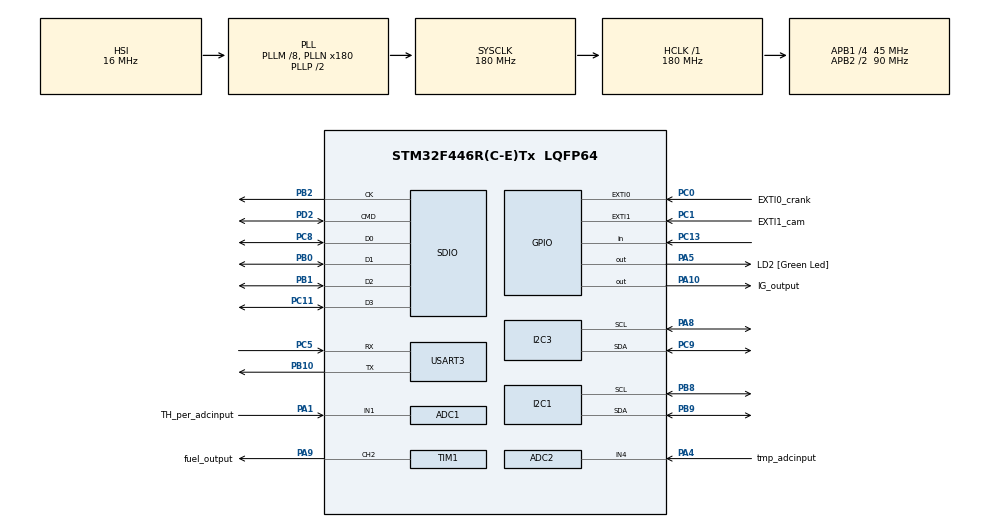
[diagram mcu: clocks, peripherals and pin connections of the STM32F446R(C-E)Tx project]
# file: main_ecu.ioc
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ADC1.Channel-0\#ChannelRegularConversion=ADC_CHANNEL_1
ADC1.ClockPrescaler=ADC_CLOCK_SYNC_PCLK_DIV4
ADC1.NbrOfConversionFlag=1
ADC1.Rank-0\#ChannelRegularConversion=1
ADC1.SamplingTime-0\#ChannelRegularConversion=ADC_SAMPLETIME_84CYCLES
ADC1.master=1
ADC2.Channel-0\#ChannelRegularConversion=ADC_CHANNEL_4
ADC2.ClockPrescaler=ADC_CLOCK_SYNC_PCLK_DIV4
ADC2.NbrOfConversionFlag=1
ADC2.Rank-0\#ChannelRegularConversion=1
ADC2.SamplingTime-0\#ChannelRegularConversion=ADC_SAMPLETIME_84CYCLES
Dma.Request0=SDIO_RX
Dma.Request1=SDIO_TX
Dma.SDIO_RX.0.Direction=DMA_PERIPH_TO_MEMORY
Dma.SDIO_RX.0.FIFOMode=DMA_FIFOMODE_ENABLE
Dma.SDIO_RX.0.FIFOThreshold=DMA_FIFO_THRESHOLD_FULL
Dma.SDIO_RX.0.Instance=DMA2_Stream3
Dma.SDIO_RX.0.MemBurst=DMA_MBURST_INC4
Dma.SDIO_RX.0.MemDataAlignment=DMA_MDATAALIGN_WORD
Dma.SDIO_RX.0.MemInc=DMA_MINC_ENABLE
Dma.SDIO_RX.0.Mode=DMA_PFCTRL
Dma.SDIO_RX.0.PeriphBurst=DMA_PBURST_INC4
Dma.SDIO_RX.0.PeriphDataAlignment=DMA_PDATAALIGN_WORD
Dma.SDIO_RX.0.PeriphInc=DMA_PINC_DISABLE
Dma.SDIO_RX.0.Priority=DMA_PRIORITY_LOW
Dma.SDIO_TX.1.Direction=DMA_MEMORY_TO_PERIPH
Dma.SDIO_TX.1.FIFOMode=DMA_FIFOMODE_ENABLE
Dma.SDIO_TX.1.FIFOThreshold=DMA_FIFO_THRESHOLD_FULL
Dma.SDIO_TX.1.Instance=DMA2_Stream6
Dma.SDIO_TX.1.MemBurst=DMA_MBURST_INC4
Dma.SDIO_TX.1.MemDataAlignment=DMA_MDATAALIGN_WORD
Dma.SDIO_TX.1.MemInc=DMA_MINC_ENABLE
Dma.SDIO_TX.1.Mode=DMA_PFCTRL
Dma.SDIO_TX.1.PeriphBurst=DMA_PBURST_INC4
Dma.SDIO_TX.1.PeriphDataAlignment=DMA_PDATAALIGN_WORD
Dma.SDIO_TX.1.PeriphInc=DMA_PINC_DISABLE
Dma.SDIO_TX.1.Priority=DMA_PRIORITY_LOW
FATFS._MAX_SS=4096
FREERTOS.BinarySemaphores01=Crank_Sem,Dynamic,NULL,Available
FREERTOS.Mutexes01=Uart_mutex,Dynamic,NULL,Depleted;I2C_mutex,Dynamic,NULL,Available
FREERTOS.Queues01=sensor_Queue,16,uint16_t,0,Dynamic,NULL,NULL;command_Queue,16,uint16_t,0,Dynamic,NULL,NULL;configQueue,16,uint16_t,0,Dynamic,NULL,NULL
FREERTOS.Tasks01=IG_Task,3,128,ig_Task,Default,NULL,Dynamic,NULL,NULL;fuel_Task,3,128,fuel_task,Default,NULL,Dynamic,NULL,NULL;Throttle_Task,2,128,Throttle_task,Default,NULL,Dynamic,NULL,NULL;TMP_Task,1,128,TMP_task,Default,NULL,Dynamic,NULL,NULL;UI_Task,-2,256,UI_task,Default,NULL,Dynamic,NULL,NULL;Xbeetask,1,128,xbeetask,Default,NULL,Dynamic,NULL,NULL
Mcu.Family=STM32F4
Mcu.Name=STM32F446R(C-E)Tx
Mcu.Package=LQFP64
NVIC.DMA2_Stream3_IRQn=true\:5\:0\:false\:false\:true\:true\:false\:true\:true
NVIC.DMA2_Stream6_IRQn=true\:5\:0\:false\:false\:true\:true\:false\:true\:true
NVIC.EXTI0_IRQn=true\:5\:0\:false\:false\:true\:true\:true\:true\:true
NVIC.EXTI1_IRQn=true\:5\:0\:false\:false\:true\:true\:true\:true\:true
NVIC.I2C3_ER_IRQn=true\:5\:0\:false\:false\:true\:true\:true\:true\:true
NVIC.I2C3_EV_IRQn=true\:5\:0\:false\:false\:true\:true\:true\:true\:true
NVIC.PriorityGroup=NVIC_PRIORITYGROUP_4
NVIC.SDIO_IRQn=true\:5\:0\:false\:false\:true\:true\:true\:true\:true
NVIC.TIM2_IRQn=true\:5\:0\:false\:false\:true\:true\:true\:true\:true
NVIC.TIM3_IRQn=true\:5\:0\:false\:false\:true\:true\:true\:true\:true
NVIC.TIM4_IRQn=true\:5\:0\:false\:false\:true\:true\:true\:true\:true
NVIC.TIM5_IRQn=true\:5\:0\:false\:false\:true\:true\:true\:true\:true
NVIC.TIM6_DAC_IRQn=true\:15\:0\:false\:false\:true\:false\:false\:true\:true
NVIC.TimeBase=TIM6_DAC_IRQn
NVIC.TimeBaseIP=TIM6
NVIC.USART3_IRQn=true\:5\:0\:false\:false\:true\:true\:true\:true\:true
PA1.GPIO_Label=TH_per_adcinput
PA1.Signal=ADCx_IN1
PA10.GPIO_Label=IG_output
PA10.Signal=GPIO_Output
PA13.GPIO_Label=TMS
PA13.Mode=Serial_Wire
PA13.Signal=SYS_JTMS-SWDIO
PA14.GPIO_Label=TCK
PA14.Mode=Serial_Wire
PA14.Signal=SYS_JTCK-SWCLK
PA4.GPIO_Label=tmp_adcinput
PA4.Signal=ADCx_IN4
PA5.GPIO_Label=LD2 [Green Led]
PA5.Signal=GPIO_Output
PA8.Mode=I2C
PA8.Signal=I2C3_SCL
PA9.GPIO_Label=fuel_output
PA9.Signal=S_TIM1_CH2
PB0.Mode=SD_4_bits_Wide_bus
PB0.Signal=SDIO_D1
PB1.Mode=SD_4_bits_Wide_bus
PB1.Signal=SDIO_D2
PB10.Mode=Asynchronous
PB10.Signal=USART3_TX
PB2.Mode=SD_4_bits_Wide_bus
PB2.Signal=SDIO_CK
PB3.GPIO_Label=SWO
PB3.Signal=SYS_JTDO-SWO
PB8.GPIO_Pu=GPIO_PULLUP
PB8.Mode=I2C
PB8.Signal=I2C1_SCL
PB9.GPIO_Pu=GPIO_PULLUP
PB9.Mode=I2C
PB9.Signal=I2C1_SDA
PC0.GPIO_Label=EXTI0_crank
PC0.GPIO_PuPd=GPIO_PULLDOWN
PC0.Signal=GPXTI0
PC1.GPIO_Label=EXTI1_cam
PC1.Signal=GPXTI1
PC11.Mode=SD_4_bits_Wide_bus
PC11.Signal=SDIO_D3
PC13.GPIO_PuPd=GPIO_PULLUP
PC13.Signal=GPIO_Input
PC14-OSC32_IN.Mode=LSE-External-Oscillator
PC14-OSC32_IN.Signal=RCC_OSC32_IN
PC15-OSC32_OUT.Mode=LSE-External-Oscillator
PC15-OSC32_OUT.Signal=RCC_OSC32_OUT
PC5.Mode=Asynchronous
PC5.Signal=USART3_RX
PC8.Mode=SD_4_bits_Wide_bus
PC8.Signal=SDIO_D0
PC9.Mode=I2C
PC9.Signal=I2C3_SDA
PD2.Mode=SD_4_bits_Wide_bus
PD2.Signal=SDIO_CMD
PH0-OSC_IN.Mode=HSE-External-Oscillator
PH0-OSC_IN.Signal=RCC_OSC_IN
PH1-OSC_OUT.Mode=HSE-External-Oscillator
PH1-OSC_OUT.Signal=RCC_OSC_OUT
ProjectManager.HeapSize=0x200
ProjectManager.StackSize=0x400
ProjectManager.TargetToolchain=STM32CubeIDE
RCC.48MHZClocksFreq_Value=84000000
RCC.AHBFreq_Value=180000000
RCC.APB1CLKDivider=RCC_HCLK_DIV4
RCC.APB1Freq_Value=45000000
RCC.APB1TimFreq_Value=90000000
RCC.APB2CLKDivider=RCC_HCLK_DIV2
RCC.APB2Freq_Value=90000000
RCC.APB2TimFreq_Value=180000000
RCC.CortexFreq_Value=180000000
RCC.FLatency-AdvancedSettings=FLASH_LATENCY_5
RCC.HCLKFreq_Value=180000000
RCC.HSE_VALUE=8000000
RCC.HSI_VALUE=16000000
RCC.PLLM=8
RCC.PLLN=180
RCC.PLLQ=8
RCC.SYSCLKFreq_VALUE=180000000
RCC.SYSCLKSource=RCC_SYSCLKSOURCE_PLLCLK
RCC.USBFreq_Value=45000000
RCC.VCOOutputFreq_Value=360000000
SH.ADCx_IN1.0=ADC1_IN1,IN1
SH.ADCx_IN4.0=ADC2_IN4,IN4
SH.S_TIM1_CH2.0=TIM1_CH2,PWM Generation2 CH2
TIM1.Channel-PWM\ Generation2\ CH2=TIM_CHANNEL_2
TIM1.Prescaler=89
TIM2.Channel-Output\ Compare1\ No\ Output=TIM_CHANNEL_1
TIM2.Period=4294967295
TIM2.Prescaler=89
TIM3.Channel-Output\ Compare1\ No\ Output=TIM_CHANNEL_1
TIM3.Period=14999
TIM3.Prescaler=89
TIM4.Channel-Output\ Compare1\ No\ Output=TIM_CHANNEL_1
TIM4.Period=14999
TIM4.Prescaler=89
TIM5.Period=4294967295
TIM5.Prescaler=89
USART3.VirtualMode=VM_ASYNC
VP_CRC_VS_CRC.Mode=CRC_Activate
VP_FATFS_VS_SDIO.Mode=SDIO
VP_FREERTOS_VS_CMSIS_V1.Mode=CMSIS_V1
VP_SYS_VS_tim6.Mode=TIM6
VP_TIM2_VS_ClockSourceINT.Mode=Internal
VP_TIM2_VS_no_output1.Mode=Output Compare1 No Output
VP_TIM3_VS_ClockSourceINT.Mode=Internal
VP_TIM3_VS_no_output1.Mode=Output Compare1 No Output
VP_TIM4_VS_ClockSourceINT.Mode=Internal
VP_TIM4_VS_no_output1.Mode=Output Compare1 No Output
VP_TIM5_VS_ClockSourceINT.Mode=Internal
board=NUCLEO-F446RE

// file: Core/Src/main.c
/* USER CODE BEGIN Header */
/**
  ******************************************************************************
  * @file           : main.c
  * @brief          : Main program body
  ******************************************************************************
  * @attention
  *
  * Copyright (c) 2025 STMicroelectronics.
  * All rights reserved.
  *
  * This software is licensed under terms that can be found in the LICENSE file
  * in the root directory of this software component.
  * If no LICENSE file comes with this software, it is provided AS-IS.
  * この順で保存
  * git status
    git add .
    git commit -m "tune injection map"
    git push
  *
  ******************************************************************************
  */
/* USER CODE END Header */
#include "main.h"
#include "cmsis_os.h"
#include "adc.h"
#include "crc.h"
#include "dma.h"
#include "fatfs.h"
#include "i2c.h"
#include "sdio.h"
#include "tim.h"
#include "usart.h"
#include "gpio.h"

/* USER CODE BEGIN Includes */
#include <stdio.h>
#include <math.h>
#include <string.h>
#include "liquidcrystal_i2c.h"
#include "ecu_math.h"
#include "ee24.h"
#include "ecu_data.h"
#include "ecu_config.h"
#include "FreeRTOS.h"
#include "task.h"
#include "xbee_ecu.h"
/* USER CODE END Includes */

/* USER CODE BEGIN PTD */
EE24_HandleTypeDef hee24;
extern XBee_ECU_Handle_t xbee_ecu;
/* USER CODE END PTD */

/* USER CODE BEGIN PD */

//↑バージョン情報も保存させているときはその分のサイズも足す
/* USER CODE END PD */

/* USER CODE BEGIN PM */
static uint16_t map_crc16(const uint8_t *data, uint32_t length);
static uint8_t load_map_from_payload(const uint8_t *data, uint32_t length);
extern osMutexId I2C_mutexHandle;

int XBee_GetEngineRPM(void)
{
    /* A previous RPM value is not evidence that the engine is still rotating. */
    if (!crank_is_synchronised ||
        (HAL_GetTick() - crank_last_edge_ms) > CRANK_TIMEOUT_MS ||
        rpm_A <= 0)
        return 0;

    if (rpm_A > 65535)
        return 65535;

    return (uint16_t)rpm_A;
}

HAL_StatusTypeDef XBee_WriteBin(
    const uint8_t *data,
    uint16_t length
)
{
    if (data == NULL || length != MAP_SIZE)
        return HAL_ERROR;

    if (osMutexWait(I2C_mutexHandle, osWaitForever) != osOK)
        return HAL_ERROR;
    uint8_t write_ok = EE24_Write(&hee24, 0x0000U, (uint8_t *)data, length, 1000U);
    (void)osMutexRelease(I2C_mutexHandle);
    return write_ok ? HAL_OK : HAL_ERROR;
}

HAL_StatusTypeDef XBee_VerifyBin(
    const uint8_t *data,
    uint16_t length
)
{
    uint8_t verify[MAP_SIZE];

    if (data == NULL || length != MAP_SIZE ||
        osMutexWait(I2C_mutexHandle, osWaitForever) != osOK)
    {
        return HAL_ERROR;
    }
    uint8_t read_ok = EE24_Read(&hee24, 0x0000U, verify, MAP_SIZE, 1000U);
    (void)osMutexRelease(I2C_mutexHandle);
    if (!read_ok ||
        memcmp(data, verify, MAP_SIZE) != 0 ||
        !load_map_from_payload(verify, MAP_SIZE))
    {
        return HAL_ERROR;
    }

    return HAL_OK;
}
/* USER CODE END PM */

void SystemClock_Config(void);
void MX_FREERTOS_Init(void);

/* USER CODE BEGIN 0 */

static uint16_t map_crc16(const uint8_t *data, uint32_t length)
{
    uint32_t crc = 0xFFFFFFFFU;

    for (uint32_t i = 0; i < length; i++)
    {
        crc ^= data[i];
        for (uint32_t bit = 0; bit < 8U; bit++)
        {
            crc = (crc & 1U) ? ((crc >> 1U) ^ 0xEDB88320U) : (crc >> 1U);
        }
    }

    return (uint16_t)((crc ^ 0xFFFFFFFFU) & 0xFFFFU);
}

static uint8_t load_map_from_payload(const uint8_t *data, uint32_t length)
{
    mapdata candidate = default_map;
    uint32_t index = 0U;
    uint16_t stored_crc;

    if (data == NULL || length != MAP_SIZE)
        return 0U;

    stored_crc = (uint16_t)data[MAP_DATA_SIZE] |
                 ((uint16_t)data[MAP_DATA_SIZE + 1U] << 8U);
    if (map_crc16(data, MAP_DATA_SIZE) != stored_crc)
        return 0U;

    for (int i = 0; i < RPM_SIZE; i++)
    {
        candidate.rpm_axis[i] = (int)((uint16_t)data[index] |
                                      ((uint16_t)data[index + 1U] << 8U));
        index += 2U;
        if (candidate.rpm_axis[i] > 12000 ||
            (i > 0 && candidate.rpm_axis[i] <= candidate.rpm_axis[i - 1]))
            return 0U;
    }

    for (int i = 0; i < TPS_SIZE; i++)
    {
        candidate.tps_axis[i] = (int)((uint16_t)data[index] |
                                      ((uint16_t)data[index + 1U] << 8U));
        index += 2U;
        if (candidate.tps_axis[i] > 100 ||
            (i > 0 && candidate.tps_axis[i] <= candidate.tps_axis[i - 1]))
            return 0U;
    }

    for (int r = 0; r < RPM_SIZE; r++)
    {
        for (int t = 0; t < TPS_SIZE; t++)
        {
            uint16_t value = (uint16_t)data[index] |
                             ((uint16_t)data[index + 1U] << 8U);
            index += 2U;
            candidate.map_fuel_raw_ee[r][t] = value;
            candidate.map_fuel[r][t] = (float)value / 1000.0f;
            if (candidate.map_fuel[r][t] < 10.0f || candidate.map_fuel[r][t] > 18.0f)
                return 0U;
        }
    }

    for (int r = 0; r < RPM_SIZE; r++)
    {
        for (int t = 0; t < TPS_SIZE; t++)
        {
            int16_t value = (int16_t)((uint16_t)data[index] |
                                      ((uint16_t)data[index + 1U] << 8U));
            index += 2U;
            candidate.map_ign_ee[r][t] = value;
            candidate.map_ign[r][t] = (int)value;
            if (value < -20 || value > 40)
                return 0U;
        }
    }

    if (index != MAP_DATA_SIZE)
        return 0U;

    current_map = candidate;
    return 1U;
}
/* USER CODE END 0 */

int main(void)
{

  /* MCU Configuration--------------------------------------------------------*/

  /* Reset of all peripherals, Initializes the Flash interface and the Systick. */
  HAL_Init();

  /* Configure the system clock */
  SystemClock_Config();

  /* Initialize all configured peripherals */
  MX_GPIO_Init();
  MX_DMA_Init();
  MX_I2C1_Init();
  MX_TIM2_Init();
  MX_ADC1_Init();
  MX_TIM3_Init();
  MX_ADC2_Init();
  MX_TIM4_Init();
  MX_TIM5_Init();
  MX_I2C3_Init();
  MX_CRC_Init();
  MX_SDIO_SD_Init();
  MX_FATFS_Init();
  MX_USART3_UART_Init();
  MX_TIM1_Init();
  /* USER CODE BEGIN 2 */
  XBee_ECU_Init(
  	        &xbee_ecu,
  	        &huart3,
  			XBee_GetEngineRPM,
  	        XBee_WriteBin,
  	        XBee_VerifyBin
  	    );
  HAL_TIM_PWM_Start(&htim1,TIM_CHANNEL_2); //NEW燃料時間制御
  HAL_TIM_Base_Start(&htim2);   // 周期計測用
  HAL_TIM_Base_Start(&htim3);   // 点火遅延用
  HAL_TIM_Base_Start(&htim4);
  HD44780_Init(2);
  HD44780_Clear();
  HD44780_PrintStr("1");
  HAL_Delay(500);
  for(int addr=0; addr<128; addr++)
  {
      if(HAL_I2C_IsDeviceReady(&hi2c3, addr<<1, 1, 10) == HAL_OK)
      {
          printf("I2C device: 0x%02X\n",addr);
      }
  }
  //HAL_Delay(10000);
  /* Invalid, erased, or partially written EEPROM must never become a map. */
  if (!EE24_Init(&hee24, &hi2c3, EE24_ADDRESS_DEFAULT) ||
      !EE24_Read(&hee24, 0x0000U, raw_map, MAP_SIZE, 1000U) ||
      !load_map_from_payload(raw_map, MAP_SIZE))
  {
      current_map = default_map;
      HD44780_Clear();
      HD44780_PrintStr("default map");
  }
  else
  {
      HD44780_Clear();
      HD44780_PrintStr("map loaded");
  }

  /* USER CODE END 2 */

  /* Call init function for freertos objects (in cmsis_os2.c) */
  MX_FREERTOS_Init();

  /* Start scheduler */
  osKernelStart();

  /* We should never get here as control is now taken by the scheduler */

  /* Infinite loop */
  while (1)
  {

  }
}

void SystemClock_Config(void)
{
  RCC_OscInitTypeDef RCC_OscInitStruct = {0};
  RCC_ClkInitTypeDef RCC_ClkInitStruct = {0};

  /** Configure the main internal regulator output voltage
  */
  __HAL_RCC_PWR_CLK_ENABLE();
  __HAL_PWR_VOLTAGESCALING_CONFIG(PWR_REGULATOR_VOLTAGE_SCALE1);

  /** Initializes the RCC Oscillators according to the specified parameters
  * in the RCC_OscInitTypeDef structure.
  */
  RCC_OscInitStruct.OscillatorType = RCC_OSCILLATORTYPE_HSI;
  RCC_OscInitStruct.HSIState = RCC_HSI_ON;
  RCC_OscInitStruct.HSICalibrationValue = RCC_HSICALIBRATION_DEFAULT;
  RCC_OscInitStruct.PLL.PLLState = RCC_PLL_ON;
  RCC_OscInitStruct.PLL.PLLSource = RCC_PLLSOURCE_HSI;
  RCC_OscInitStruct.PLL.PLLM = 8;
  RCC_OscInitStruct.PLL.PLLN = 180;
  RCC_OscInitStruct.PLL.PLLP = RCC_PLLP_DIV2;
  RCC_OscInitStruct.PLL.PLLQ = 8;
  RCC_OscInitStruct.PLL.PLLR = 2;
  if (HAL_RCC_OscConfig(&RCC_OscInitStruct) != HAL_OK)
  {
    Error_Handler();
  }

  /** Activate the Over-Drive mode
  */
  if (HAL_PWREx_EnableOverDrive() != HAL_OK)
  {
    Error_Handler();
  }

  /** Initializes the CPU, AHB and APB buses clocks
  */
  RCC_ClkInitStruct.ClockType = RCC_CLOCKTYPE_HCLK|RCC_CLOCKTYPE_SYSCLK
                              |RCC_CLOCKTYPE_PCLK1|RCC_CLOCKTYPE_PCLK2;
  RCC_ClkInitStruct.SYSCLKSource = RCC_SYSCLKSOURCE_PLLCLK;
  RCC_ClkInitStruct.AHBCLKDivider = RCC_SYSCLK_DIV1;
  RCC_ClkInitStruct.APB1CLKDivider = RCC_HCLK_DIV4;
  RCC_ClkInitStruct.APB2CLKDivider = RCC_HCLK_DIV2;

  if (HAL_RCC_ClockConfig(&RCC_ClkInitStruct, FLASH_LATENCY_5) != HAL_OK)
  {
    Error_Handler();
  }
}

/* USER CODE BEGIN 4 */
/*
void HAL_GPIO_EXTI_Callback(uint16_t GPIO_Pin)
{
  if (GPIO_Pin == EXTI0_crank_Pin)   // ← クランク入力ピンに合わせる
  {
	uint32_t now = __HAL_TIM_GET_COUNTER(&htim2);

	HAL_GPIO_TogglePin(LD2_GPIO_Port, LD2_Pin); // デバッグ用

	crank_period_us = now - crank_last_us;
	crank_last_us = now;
	//if (crank_period_us < 3000) return;   // ≒ 10000rpm以上
	//if (crank_period_us > 100000) return; // クランキング異常

	rpm_A = 60000000UL / crank_period_us;

	// RTOSタスクに渡すだけ
	 //osSemaphoreRelease(Crank_SemHandle);
	BaseType_t xHigherPriorityTaskWoken = pdFALSE;
	xSemaphoreGiveFromISR(Crank_SemHandle, &xHigherPriorityTaskWoken);
	portYIELD_FROM_ISR(xHigherPriorityTaskWoken);

  }
}
*/
//クランク信号割り込み
void HAL_GPIO_EXTI_Callback(uint16_t GPIO_Pin)
{
  if (GPIO_Pin == EXTI0_crank_Pin)   // ← クランク入力ピンに合わせる
  {
  	  uint32_t now = __HAL_TIM_GET_COUNTER(&htim2);
      uint32_t period;

      if (!crank_is_synchronised)
      {
          crank_last_us = now;
          crank_last_edge_ms = HAL_GetTick();
          crank_is_synchronised = 1U;
          return;
      }

      /* Unsigned subtraction is correct across a 32-bit timer wrap. */
      period = now - crank_last_us;
      if (period < CRANK_PERIOD_MIN_US || period > CRANK_PERIOD_MAX_US)
      {
          return;
      }

      crank_period_us = period;
      crank_last_us = now;
      crank_last_edge_ms = HAL_GetTick();
      rpm_A = (int)(60000000UL / crank_period_us);

	  	    if (rpm_A < 3000)      dwell_us = 3000;
	  	    else if (rpm_A < 6000) dwell_us = 2000;
	  	    else                   dwell_us = 1500;

	  uint32_t target1 = now + next_delay_us;

	 // __HAL_TIM_SET_COUNTER(&htim3, 0);
	  //__HAL_TIM_SET_COMPARE(&htim3, TIM_CHANNEL_1, target);
	  //HAL_TIM_OC_Start_IT(&htim3, TIM_CHANNEL_1);
	  __HAL_TIM_SET_COMPARE(&htim2, TIM_CHANNEL_1, target1);
	  HAL_TIM_OC_Start_IT(&htim2, TIM_CHANNEL_1);
  }else if(GPIO_Pin == EXTI1_cam_Pin){
	  //カム信号割り込み
	  //インジェクターテストモードでは割り込み無効化
	  if(injector_test_mode)
	      {
	          return;
	      }

	  //HAL_GPIO_WritePin(fuel_output_GPIO_Port,fuel_output_Pin,GPIO_PIN_SET);
	  //uint32_t now1 = __HAL_TIM_GET_COUNTER(&htim5);
	  //uint32_t target2 = now1 + (uint32_t)T_inj_us;

	  //噴射時間セット
	 //噴射から噴射終了までやる
	  uint32_t pulse = (uint32_t)T_inj_us;
	  if (pulse > 65000U) pulse = 65000U;  //16ビットカウンタ安全マージン
	  __HAL_TIM_DISABLE(&htim1);
	  __HAL_TIM_SET_COUNTER(&htim1, 0);
	  __HAL_TIM_SET_COMPARE(&htim1, TIM_CHANNEL_2, pulse);
	  __HAL_TIM_ENABLE(&htim1);

		  //__HAL_TIM_SET_COMPARE(&htim5, TIM_CHANNEL_1, target2);

		 //HAL_TIM_OC_Start_IT(&htim5, TIM_CHANNEL_1);

  }
}

void HAL_TIM_OC_DelayElapsedCallback(TIM_HandleTypeDef *htim)
{//点火開始
  if (htim->Instance == TIM2)
  {
    HAL_GPIO_WritePin(IG_output_GPIO_Port, IG_output_Pin, GPIO_PIN_SET); // IGN ON
    HAL_GPIO_WritePin(LD2_GPIO_Port, LD2_Pin,GPIO_PIN_SET); // デバッグ用

    // TIM4カウンタリセット
        __HAL_TIM_SET_COUNTER(&htim4, 0);

        // dwell時間セット
        __HAL_TIM_SET_COMPARE(&htim4, TIM_CHANNEL_1, dwell_us);

        HAL_TIM_OC_Start_IT(&htim4, TIM_CHANNEL_1);

   // HAL_TIM_OC_Stop_IT(&htim3, TIM_CHANNEL_1);
  }//点火終わり
  else if (htim->Instance == TIM4)
    {
      HAL_GPIO_WritePin(IG_output_GPIO_Port, IG_output_Pin, GPIO_PIN_RESET);
      HAL_TIM_OC_Stop_IT(&htim4, TIM_CHANNEL_1);
    }
}

void HAL_UART_RxCpltCallback(UART_HandleTypeDef *huart)
{
    if (huart->Instance == USART3)
    {
        XBee_ECU_RxCpltCallback(&xbee_ecu, huart);
    }
}

void HAL_UART_ErrorCallback(UART_HandleTypeDef *huart)
{
    if (huart->Instance == USART3)
    {
        XBee_ECU_ErrorCallback(&xbee_ecu, huart);
    }
}

/* USER CODE END 4 */

void HAL_TIM_PeriodElapsedCallback(TIM_HandleTypeDef *htim)
{
  if (htim->Instance == TIM6)
  {
    HAL_IncTick();
  }
}

void Error_Handler(void)
{
  /* USER CODE BEGIN Error_Handler_Debug */

  /* User can add his own implementation to report the HAL error return state */
  __disable_irq();
  while (1)
  {
	  HAL_GPIO_TogglePin(LD2_GPIO_Port, LD2_Pin);
	  HAL_Delay(200);
  }
  /* USER CODE END Error_Handler_Debug */
}

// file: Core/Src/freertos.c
/* USER CODE BEGIN Header */
/**
  ******************************************************************************
  * File Name          : freertos.c
  * Description        : Code for freertos applications
  ******************************************************************************
  * @attention
  *
  * Copyright (c) 2025 STMicroelectronics.
  * All rights reserved.
  *
  * This software is licensed under terms that can be found in the LICENSE file
  * in the root directory of this software component.
  * If no LICENSE file comes with this software, it is provided AS-IS.
  *
  ******************************************************************************
  */
/* USER CODE END Header */

#include "FreeRTOS.h"
#include "task.h"
#include "main.h"
#include "cmsis_os.h"

/* USER CODE BEGIN Includes */
#include "ecu_math.h"
#include "ecu_data.h"
#include "ecu_config.h"
#include "adc.h"
#include "ecu_UI.h"
#include "xbee_ecu.h"
#include "usart.h"
#include "crc.h"
#include "tim.h"

/* USER CODE END Includes */

/* USER CODE BEGIN Variables */
XBee_ECU_Handle_t xbee_ecu;

/* USER CODE END Variables */
osThreadId IG_TaskHandle;
osThreadId fuel_TaskHandle;
osThreadId Throttle_TaskHandle;
osThreadId TMP_TaskHandle;
osThreadId UI_TaskHandle;
osThreadId XbeetaskHandle;
osMessageQId sensor_QueueHandle;
osMessageQId command_QueueHandle;
osMessageQId configQueueHandle;
osMutexId Uart_mutexHandle;
osMutexId I2C_mutexHandle;
osSemaphoreId Crank_SemHandle;

void ig_Task(void const * argument);
void fuel_task(void const * argument);
void Throttle_task(void const * argument);
void TMP_task(void const * argument);
void UI_task(void const * argument);
void xbeetask(void const * argument);

void MX_FREERTOS_Init(void); /* (MISRA C 2004 rule 8.1) */

/* GetIdleTaskMemory prototype (linked to static allocation support) */
void vApplicationGetIdleTaskMemory( StaticTask_t **ppxIdleTaskTCBBuffer, StackType_t **ppxIdleTaskStackBuffer, uint32_t *pulIdleTaskStackSize );

/* USER CODE BEGIN GET_IDLE_TASK_MEMORY */
static StaticTask_t xIdleTaskTCBBuffer;
static StackType_t xIdleStack[configMINIMAL_STACK_SIZE];

void vApplicationGetIdleTaskMemory( StaticTask_t **ppxIdleTaskTCBBuffer, StackType_t **ppxIdleTaskStackBuffer, uint32_t *pulIdleTaskStackSize )
{
  *ppxIdleTaskTCBBuffer = &xIdleTaskTCBBuffer;
  *ppxIdleTaskStackBuffer = &xIdleStack[0];
  *pulIdleTaskStackSize = configMINIMAL_STACK_SIZE;
  /* place for user code */
}
/* USER CODE END GET_IDLE_TASK_MEMORY */

void MX_FREERTOS_Init(void) {
  /* Create the mutex(es) */
  /* definition and creation of Uart_mutex */
  osMutexDef(Uart_mutex);
  Uart_mutexHandle = osMutexCreate(osMutex(Uart_mutex));

  /* definition and creation of I2C_mutex */
  osMutexDef(I2C_mutex);
  I2C_mutexHandle = osMutexCreate(osMutex(I2C_mutex));

  /* Create the semaphores(s) */
  /* definition and creation of Crank_Sem */
  osSemaphoreDef(Crank_Sem);
  Crank_SemHandle = osSemaphoreCreate(osSemaphore(Crank_Sem), 1);

  /* Create the queue(s) */
  /* definition and creation of sensor_Queue */
  osMessageQDef(sensor_Queue, 16, uint16_t);
  sensor_QueueHandle = osMessageCreate(osMessageQ(sensor_Queue), NULL);

  /* definition and creation of command_Queue */
  osMessageQDef(command_Queue, 16, uint16_t);
  command_QueueHandle = osMessageCreate(osMessageQ(command_Queue), NULL);

  /* definition and creation of configQueue */
  osMessageQDef(configQueue, 16, uint16_t);
  configQueueHandle = osMessageCreate(osMessageQ(configQueue), NULL);

  /* Create the thread(s) */
  /* definition and creation of IG_Task */
  osThreadDef(IG_Task, ig_Task, osPriorityRealtime, 0, 128);
  IG_TaskHandle = osThreadCreate(osThread(IG_Task), NULL);

  /* definition and creation of fuel_Task */
  osThreadDef(fuel_Task, fuel_task, osPriorityRealtime, 0, 128);
  fuel_TaskHandle = osThreadCreate(osThread(fuel_Task), NULL);

  /* definition and creation of Throttle_Task */
  osThreadDef(Throttle_Task, Throttle_task, osPriorityHigh, 0, 128);
  Throttle_TaskHandle = osThreadCreate(osThread(Throttle_Task), NULL);

  /* definition and creation of TMP_Task */
  osThreadDef(TMP_Task, TMP_task, osPriorityAboveNormal, 0, 128);
  TMP_TaskHandle = osThreadCreate(osThread(TMP_Task), NULL);

  /* definition and creation of UI_Task */
  osThreadDef(UI_Task, UI_task, osPriorityLow, 0, 256);
  UI_TaskHandle = osThreadCreate(osThread(UI_Task), NULL);

  /* definition and creation of Xbeetask */
  osThreadDef(Xbeetask, xbeetask, osPriorityAboveNormal, 0, 128);
  XbeetaskHandle = osThreadCreate(osThread(Xbeetask), NULL);

}

void ig_Task(void const * argument)
{
  /* USER CODE BEGIN ig_Task */
  /* Infinite loop */
  for(;;)
  {

	  	        fdeg = getValue_i(rpm_A, THper, current_map.map_ign);
	  	        if (fdeg < 0)  fdeg = 0;
	  	        if (fdeg > 35) fdeg = 35;
	  	        //アイドリング点火時期ずらし
	  	        if(THper < 5 && rpm_A < 2000){
	  	          if(rpm_A < 1400) fdeg += 3;
	  	          if(rpm_A > 1600) fdeg -= 3;
	  	         }
	  	        if (fdeg < 0)  fdeg = 0;
	  	        if (fdeg > 35) fdeg = 35;
	  	        fdeg_ui = fdeg;

	  	        int32_t sdeg = BASE_ANGLE - fdeg;
	  	        delay_us = (sdeg * crank_period_us) / 360;
	  	        if (delay_us < 50) delay_us = 50;
	  	        if (delay_us > 60000) delay_us = 60000;
	  	        next_delay_us = delay_us;

	  	        //__HAL_TIM_SET_COUNTER(&htim3, 0);
	  	        //__HAL_TIM_SET_COMPARE(&htim3, TIM_CHANNEL_1, delay_us);
	  	        //HAL_TIM_OC_Start_IT(&htim3, TIM_CHANNEL_1);

    osDelay(1);
  }
  /* USER CODE END ig_Task */
}

void fuel_task(void const * argument)
{
  /* USER CODE BEGIN fuel_task */
	static TickType_t start_time = 0;
	static uint8_t started = 0;
	static uint8_t was_running = 0;
  /* Infinite loop */
  for(;;)
  {

	  //インジェクター流量測定モード
	  if(HAL_GPIO_ReadPin(GPIOC, GPIO_PIN_13) == GPIO_PIN_RESET)
	  {
	      injector_test_mode = 1;
	  }
	  else
	  {
	      injector_test_mode = 0;
	  }

	  if(injector_test_mode)
	      {
		      __HAL_TIM_SET_COUNTER(&htim1,5000);
	          continue;
	      }

	  // --- クランキング ---
	  if(rpm_A < 500)
	  {
		  started = 0;
		  was_running = 0;
	      if(tmp < 10)      T_inj_us = 9000;
	      else if(tmp <30)  T_inj_us = 7000;
	      else              T_inj_us = 5000;
	  }
	  else
	  {
		  started = 1;
		  if (!was_running)
		  {
		      start_time = xTaskGetTickCount();
		      was_running = 1;
		  }
	      // --- 通常燃料 ---
	      AFR_target = getValue_f(rpm_A,THper,current_map.map_fuel);

	      if(AFR_target < 10.0f) AFR_target = 10.0f;
	      if(AFR_target > 18.0f) AFR_target = 18.0f;

	      //簡易的に噴射時間を設定
	      T_inj_ms = T_base * (AFR_base / AFR_target);

	      //温度補正（簡易）
	      if(tmp < 60.0f)
	      {
	          T_inj_ms *= 1.10f;
	      }

	      //インジェクター無効噴射時間加算
	      T_inj_ms += inj_inv_ms;
	      //msからμsに変換
	      T_inj_us = T_inj_ms * 1000.0f + 0.5f;
	  }

	  // --- After Start ---
	  if(started && rpm_A > 500)
	  {
	      if(xTaskGetTickCount() - start_time < pdMS_TO_TICKS(5000))
	      {
	          T_inj_us *= 1.2f;
	      }
	  }

	  // --- TPS加速補正 ---
	  static int last_TPS = 0;
	  int dTPS = THper - last_TPS;

	  if(dTPS > 5)
	  {
	      T_inj_us += 800;
	  }
	  last_TPS = THper;

	  // --- LPF ---
	  static float inj_filtered = 0;
	  inj_filtered = inj_filtered * 0.7f + T_inj_us * 0.3f;
	  T_inj_us = inj_filtered;

	  //レブリミッター
	  if(rpm_A > 6000){
		  T_inj_us = 0;
	  }

	  osDelay(1);
	}

  /* USER CODE END fuel_task */
}

void Throttle_task(void const * argument)
{
  /* USER CODE BEGIN Throttle_task */
  /* Infinite loop */
  for(;;)
  {
	  // ADCの開始
	 	  	          HAL_ADC_Start(&hadc1);

	 	  	          // ADC変換が完了するまで待機
	 	  	          if (HAL_ADC_PollForConversion(&hadc1, 100) == HAL_OK)
	 	  	          {
	 	  	              // ADCの値を取得
	 	  	              uint32_t TH = HAL_ADC_GetValue(&hadc1);

	 	  	              // ADCの最大値（12ビット分解能の場合：4095）を基に百分率に変換
	 	  	              THper = (TH * 100) / 4095;
	 	  	          }

	 	  	          // ADCの停止
	 	  	          HAL_ADC_Stop(&hadc1);

	 	  	          osDelay(5);
  }
  /* USER CODE END Throttle_task */
}

void TMP_task(void const * argument)
{
  /* USER CODE BEGIN TMP_task */
  /* Infinite loop */
  for(;;)
  {
	  HAL_ADC_Start(&hadc2);

	  	  	  	          // ADC変換が完了するまで待機
	  	  	  	          if (HAL_ADC_PollForConversion(&hadc2, 100) == HAL_OK)
	  	  	  	          {
	  	  	  	              // ADCの値を取得
	  	  	  	              uint32_t tmpp = HAL_ADC_GetValue(&hadc2);

	  	  	  	              // 温度℃変換
	  	  	  	              tmp = GetTMP(tmpp);
	  	  	  	          }

	  	  	  	          // ADCの停止
	  	  	  	          HAL_ADC_Stop(&hadc2);

	  	  	  	          osDelay(15);
  }
  /* USER CODE END TMP_task */
}

void UI_task(void const * argument)
{
  /* USER CODE BEGIN UI_task */
	static int last_rpm = -1;
		char rpmm[16];

		static int last_deg = -1;
		char degg[16];

		static int last_tps = -1;
		char tpss[16];

		static float last_T_inj_ms = -1;
		char T_inj_mss[16];

		static float last_fuel = -1;
		char fuell[16];

		UIprint_init();
  /* Infinite loop */
  for(;;)
  {
	  UIprint_int(rpm_A,&last_rpm,rpmm,0,0);
	  UIprint_float(AFR_targett,&last_fuel,fuell,6,0);
	  UIprint_int(fdeg_ui,&last_deg,degg,0,8);//???
	  //UIprint_int(fdeg_ui,&last_deg,degg,1,1);

	  UIprint_int(THper,&last_tps,tpss,4,1);
	  UIprint_float(T_inj_ms,&last_T_inj_ms,T_inj_mss,9,1);
	  AFR_targett = AFR_target;
	  osDelay(200);
  }
  /* USER CODE END UI_task */
}

void xbeetask(void const * argument)
{
  /* USER CODE BEGIN xbeetask */
  /* Infinite loop */
  for(;;)
  {
	  XBee_ECU_Process(&xbee_ecu);
	  osDelay(1);
  }
  /* USER CODE END xbeetask */
}
